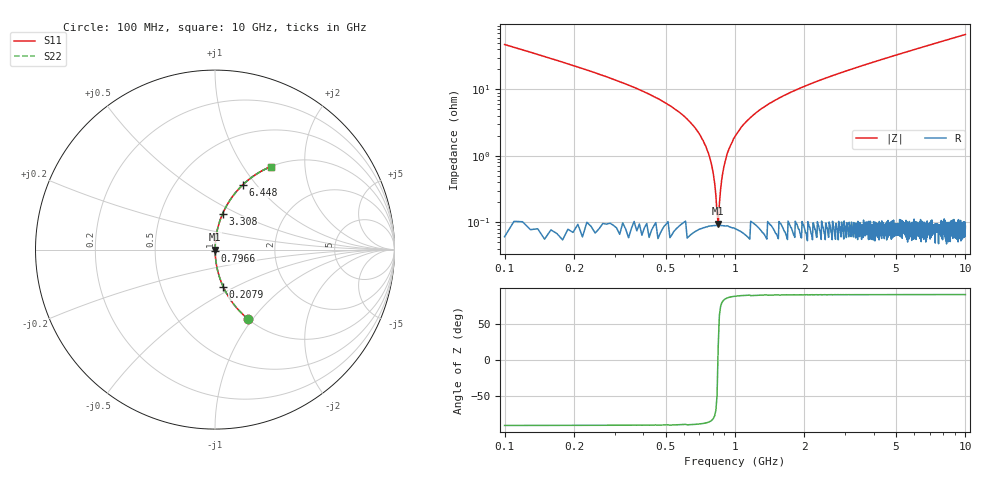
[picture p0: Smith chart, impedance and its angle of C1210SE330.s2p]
! AVX Thin Film Operation		Date: April 2012
! Description: Accu-P® Series, Thin Film, SMD, RF Capacitor
! Part Number: 12101J330FBTTR
!	100	MHz	-	10.05	GHz
!	Serial	Measurements
#	MHZ	S	MA	R	50
!	S11	S21	S12	S22
!	dB	Phase	dB	Phase	dB	Phase	dB	Phase
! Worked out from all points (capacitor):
!   1010 points, 100 MHz to 10 GHz, reference 50 ohm
!   read as one part in series: C = 33 pF near 149.1 MHz
!   lowest |Z| = 95.4 mohm at 845.7 MHz (marker M1)
!   series resonance near 843.4 MHz, so ESL is about 1.1 nH
!   S11 on the Smith chart (normalised r, x): 100 MHz: 1.00, -0.95; 207.9 MHz: 1.00, -0.44; 796.6 MHz: 1.00, -0.01; 3.308 GHz: 1.00, +0.42; 6.448 GHz: 1.00, +0.86; 10 GHz: 1.00, +1.35
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100  0.429 -64.5  0.903 25.4  0.903 25.4  0.429 -64.5
207.929  0.213 -77.5  0.976 12.3  0.976 12.3  0.213 -77.5
649.455  0.03 -86.8  0.999 1.7  0.999 1.7  0.03 -86.8
747.572  0.014 -85.9  0.999 0.8  0.999 0.8  0.014 -85.9
777.007  0.00941 -84.6  0.999 0.5  0.999 0.5  0.00941 -84.6
796.63  0.00657 -82.6  0.999 0.4  0.999 0.4  0.00657 -82.6
816.254  0.00382 -77.7  0.999 0.2  0.999 0.2  0.00382 -77.7
845.689  0.00086 21.6  0.999 -0.0  0.999 -0.0  0.00086 21.6
875.124  0.0043 79.0  0.999 -0.2  0.999 -0.2  0.0043 79.0
914.371  0.00929 84.5  0.999 -0.5  0.999 -0.5  0.00929 84.5
953.617  0.014 85.9  0.999 -0.8  0.999 -0.8  0.014 85.9
1100.793  0.031 86.7  0.999 -1.8  0.999 -1.8  0.031 86.7
1355.897  0.056 86.0  0.998 -3.2  0.998 -3.2  0.056 86.0
1758.176  0.091 84.3  0.995 -5.2  0.995 -5.2  0.091 84.3
2415.56  0.142 81.5  0.989 -8.2  0.989 -8.2  0.142 81.5
3308.424  0.205 77.9  0.978 -11.8  0.978 -11.8  0.205 77.9
3406.541  0.212 77.6  0.977 -12.2  0.977 -12.2  0.212 77.6
5054.906  0.316 71.4  0.948 -18.4  0.948 -18.4  0.316 71.4
6448.167  0.395 66.7  0.918 -23.2  0.918 -23.2  0.395 66.7
6703.271  0.408 65.8  0.912 -24.1  0.912 -24.1  0.408 65.8
8351.635  0.489 60.7  0.872 -29.3  0.872 -29.3  0.489 60.7
10000  0.558 56.0  0.829 -33.9  0.829 -33.9  0.558 56.0
